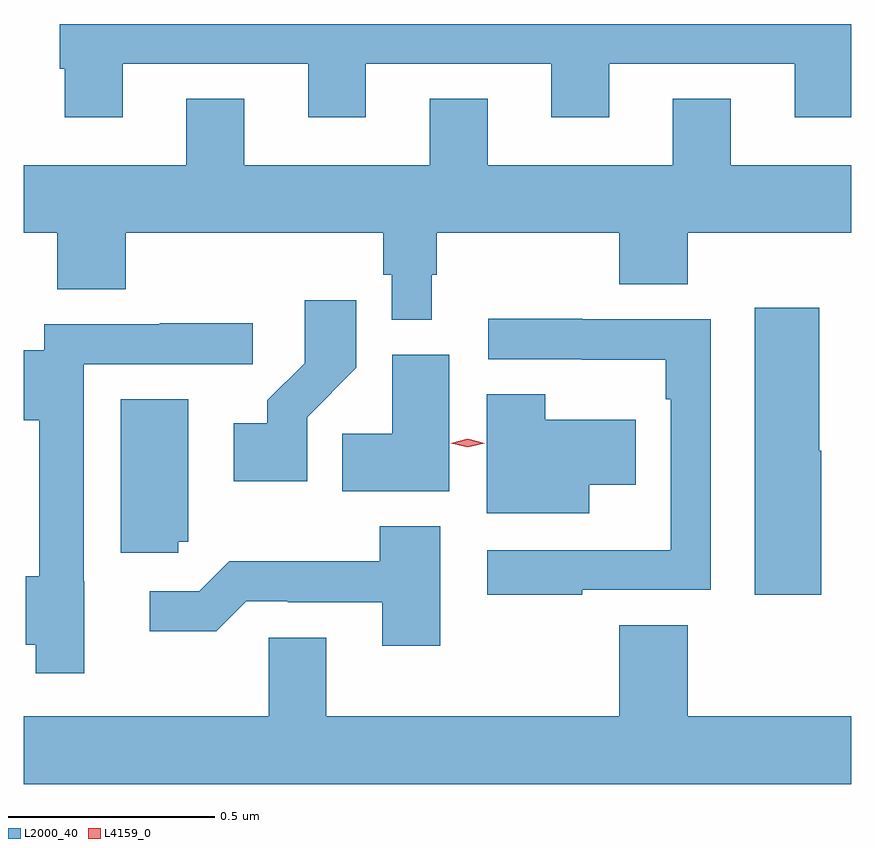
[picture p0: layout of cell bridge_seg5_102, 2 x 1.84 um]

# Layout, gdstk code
import gdstk
lib = gdstk.Library(unit=1e-6, precision=1e-09)
def P(c, l, *ps):  # polygons
    for p in ps: c.add(gdstk.Polygon(p, *l))
L2000_40 = (2000, 40)
L4159_0 = (4159, 0)

bridge_seg5_102 = lib.new_cell('bridge_seg5_102')
P(bridge_seg5_102, L2000_40, [(540.991,910.449),(541.439,910.449),(541.439,910.32),(541.579,910.32),(541.579,910.449),(542.027,910.449),(542.027,910.32),(542.167,910.32),(542.167,910.449),(542.615,910.449),(542.615,910.32),(542.752,910.32),(542.752,910.545),(540.839,910.545),(540.839,910.437),(540.851,910.437),(540.851,910.32),(540.991,910.32)],
  [(541.738,909.939),(541.75,909.939),(541.75,910.04),(542.191,910.04),(542.191,909.916),(542.357,909.916),(542.357,910.04),(542.752,910.04),(542.752,910.204),(542.461,910.204),(542.461,910.364),(542.321,910.364),(542.321,910.204),(541.873,910.204),(541.873,910.364),(541.733,910.364),(541.733,910.204),(541.285,910.204),(541.285,910.364),(541.145,910.364),(541.145,910.204),(540.752,910.204),(540.752,910.04),(540.833,910.04),(540.833,909.904),(540.998,909.904),(540.998,910.04),(541.621,910.04),(541.621,909.939),(541.641,909.939),(541.641,909.83),(541.738,909.83)],
  [(541.437,909.595),(541.556,909.714),(541.556,909.877),(541.431,909.877),(541.431,909.725),(541.34,909.635),(541.34,909.58),(541.26,909.58),(541.26,909.44),(541.437,909.44)],
  [(542.68,909.513),(542.675,909.513),(542.675,909.859),(542.519,909.859),(542.519,909.165),(542.68,909.165)],
  [(542.102,909.177),(542.412,909.177),(542.412,909.831),(542.102,909.831),(542.102,909.833),(541.875,909.833),(541.875,909.735),(542.101,909.735),(542.101,909.734),(542.304,909.734),(542.304,909.638),(542.316,909.638),(542.316,909.274),(542.315,909.274),(542.315,909.273),(541.872,909.273),(541.872,909.165),(542.102,909.165)],
  [(540.898,909.198),(540.897,909.198),(540.897,909.723),(541.306,909.723),(541.306,909.822),(541.081,909.822),(541.081,909.819),(540.801,909.819),(540.801,909.757),(540.752,909.757),(540.752,909.587),(540.789,909.587),(540.789,909.21),(540.757,909.21),(540.757,909.044),(540.781,909.044),(540.781,908.976),(540.898,908.976)],
  [(541.78,909.745),(541.643,909.745),(541.643,909.554),(541.522,909.554),(541.522,909.416),(541.78,909.416)],
  [(542.119,909.431),(542.231,909.431),(542.231,909.589),(542.013,909.589),(542.013,909.65),(541.871,909.65),(541.871,909.362),(542.119,909.362)],
  [(541.125,909.294),(541.15,909.294),(541.15,909.638),(540.986,909.638),(540.986,909.267),(541.125,909.267)],
  [(541.759,909.331),(541.612,909.331),(541.612,909.247),(541.249,909.247),(541.176,909.174),(541.056,909.174),(541.056,909.077),(541.217,909.077),(541.29,909.15),(541.39,909.15),(541.39,909.147),(541.619,909.147),(541.619,909.042),(541.759,909.042)],
  [(542.752,908.872),(542.357,908.872),(542.357,909.092),(542.191,909.092),(542.191,908.872),(541.483,908.872),(541.483,909.062),(541.344,909.062),(541.344,908.872),(540.752,908.872),(540.752,908.708),(542.752,908.708)])
P(bridge_seg5_102, L4159_0, [(541.825,909.522),(541.784,909.532),(541.784,909.532),(541.784,909.532),(541.825,909.542),(541.866,909.532),(541.866,909.532),(541.866,909.532)])

lib.write_gds('bridge_seg5_102.gds')
